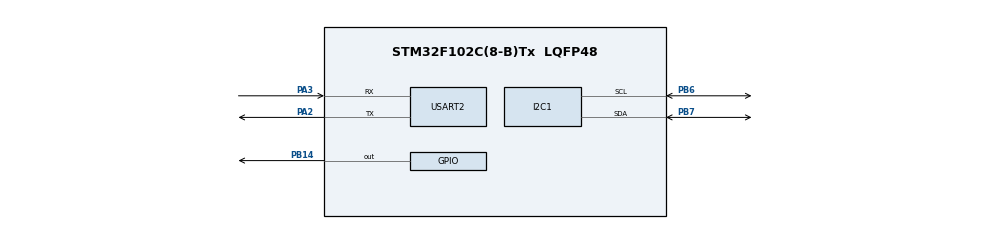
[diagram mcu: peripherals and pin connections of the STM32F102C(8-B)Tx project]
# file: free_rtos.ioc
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FREERTOS.Mutexes01=myMutex01,Dynamic,NULL,Available
FREERTOS.Queues01=myQueue01,16,myQueueData_t,0,Dynamic,NULL,NULL
FREERTOS.Tasks01=displayTask,16,128,displayFunction,Default,NULL,Dynamic,NULL,NULL;readTask,32,128,readFunction,Default,NULL,Dynamic,NULL,NULL;sendTask,24,128,sendFunction,Default,NULL,Dynamic,NULL,NULL
Mcu.Family=STM32F1
Mcu.Name=STM32F102C(8-B)Tx
Mcu.Package=LQFP48
NVIC.PriorityGroup=NVIC_PRIORITYGROUP_4
NVIC.TIM2_IRQn=true\:15\:0\:false\:false\:true\:false\:false\:true\:true
NVIC.TimeBase=TIM2_IRQn
NVIC.TimeBaseIP=TIM2
PA13.Mode=Serial_Wire
PA13.Signal=SYS_JTMS-SWDIO
PA14.Mode=Serial_Wire
PA14.Signal=SYS_JTCK-SWCLK
PA2.Mode=Asynchronous
PA2.Signal=USART2_TX
PA3.Mode=Asynchronous
PA3.Signal=USART2_RX
PB14.Signal=GPIO_Output
PB6.Mode=I2C
PB6.Signal=I2C1_SCL
PB7.Mode=I2C
PB7.Signal=I2C1_SDA
PD0-OSC_IN.Mode=HSE-External-Oscillator
PD0-OSC_IN.Signal=RCC_OSC_IN
PD1-OSC_OUT.Mode=HSE-External-Oscillator
PD1-OSC_OUT.Signal=RCC_OSC_OUT
ProjectManager.HeapSize=0x200
ProjectManager.StackSize=0x400
ProjectManager.TargetToolchain=MDK-ARM V5
RCC.APB1Freq_Value=8000000
RCC.APB2Freq_Value=8000000
TIM4.Prescaler=7
USART2.VirtualMode=VM_ASYNC
VP_FREERTOS_VS_CMSIS_V2.Mode=CMSIS_V2
VP_SYS_VS_tim2.Mode=TIM2
VP_TIM4_VS_ClockSourceINT.Mode=Internal
board=custom

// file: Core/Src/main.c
	/* USER CODE BEGIN Header */
/**
  ******************************************************************************
  * @file           : main.c
  * @brief          : Main program body
  ******************************************************************************
  * @attention
  *
  * Copyright (c) 2025 STMicroelectronics.
  * All rights reserved.
  *
  * This software is licensed under terms that can be found in the LICENSE file
  * in the root directory of this software component.
  * If no LICENSE file comes with this software, it is provided AS-IS.
  *
  ******************************************************************************
*/
/* USER CODE END Header */
#include "main.h"
#include "cmsis_os.h"

#include "stdio.h"
#include "string.h"
#include "CLCD_I2C.h"
#include "stdlib.h"

#define DHT11_PORT GPIOB
#define DHT11_PIN GPIO_PIN_14

I2C_HandleTypeDef hi2c1;
TIM_HandleTypeDef htim4;
UART_HandleTypeDef huart2;

/* Definitions for displayTask */
osThreadId_t displayTaskHandle;
const osThreadAttr_t displayTask_attributes = {
  .name = "displayTask",
  .stack_size = 128 * 4,
  .priority = (osPriority_t) osPriorityBelowNormal,
};
/* Definitions for readTask */
osThreadId_t readTaskHandle;
const osThreadAttr_t readTask_attributes = {
  .name = "readTask",
  .stack_size = 128 * 4,
  .priority = (osPriority_t) osPriorityAboveNormal,
};
/* Definitions for sendTask */
osThreadId_t sendTaskHandle;
const osThreadAttr_t sendTask_attributes = {
  .name = "sendTask",
  .stack_size = 128 * 4,
  .priority = (osPriority_t) osPriorityNormal,
};
/* Definitions for myQueue01 */
osMessageQueueId_t myQueue01Handle;
const osMessageQueueAttr_t myQueue01_attributes = {
  .name = "myQueue01"
};
/* Definitions for myMutex01 */
osMutexId_t myMutex01Handle;
const osMutexAttr_t myMutex01_attributes = {
  .name = "myMutex01"
};

void SystemClock_Config(void);
static void MX_GPIO_Init(void);
static void MX_I2C1_Init(void);
static void MX_TIM4_Init(void);
static void MX_USART2_UART_Init(void);
void displayFunction(void *argument);
void readFunction(void *argument);
void sendFunction(void *argument);

uint8_t temp, hum;
CLCD_I2C_Name LCD1;

typedef struct {
    uint8_t temp_data;
    uint8_t hum_data;
} myQueueData_t;

void delay_us(uint16_t us) {
    __HAL_TIM_SET_COUNTER(&htim4, 0);
    while (__HAL_TIM_GET_COUNTER(&htim4) < us);
}

void DHT11_Start(void) {
    GPIO_InitTypeDef GPIO_InitStruct = {0};
    GPIO_InitStruct.Pin = DHT11_PIN;
    GPIO_InitStruct.Mode = GPIO_MODE_OUTPUT_OD;
    GPIO_InitStruct.Pull = GPIO_PULLUP;
    GPIO_InitStruct.Speed = GPIO_SPEED_FREQ_LOW;
    HAL_GPIO_Init(DHT11_PORT, &GPIO_InitStruct);
    HAL_GPIO_WritePin(DHT11_PORT, DHT11_PIN, GPIO_PIN_RESET);
    HAL_Delay(18);
    HAL_GPIO_WritePin(DHT11_PORT, DHT11_PIN, GPIO_PIN_SET);
    delay_us(30);
    GPIO_InitStruct.Mode = GPIO_MODE_INPUT;
    GPIO_InitStruct.Pull = GPIO_NOPULL;
    HAL_GPIO_Init(DHT11_PORT, &GPIO_InitStruct);
}

uint8_t DHT11_CheckResponse(void) {
    uint8_t Response = 0;
    delay_us(40);
    if (!(HAL_GPIO_ReadPin(DHT11_PORT, DHT11_PIN))) {
        delay_us(80);
        if ((HAL_GPIO_ReadPin(DHT11_PORT, DHT11_PIN))) {
            Response = 1;  // Response received
        }
    }
    delay_us(40);
    return Response;
}

uint8_t DHT11_ReadData(void) {
    uint8_t i, j;
    uint8_t data = 0;
    for (j = 0; j < 8; j++) {
        while (!(HAL_GPIO_ReadPin(DHT11_PORT, DHT11_PIN)));
        delay_us(40);
        if (!(HAL_GPIO_ReadPin(DHT11_PORT, DHT11_PIN))) {
            data &= ~(1 << (7 - j));
        } else {
            data |= (1 << (7 - j));
        }
        while (HAL_GPIO_ReadPin(DHT11_PORT, DHT11_PIN));
    }
    return data;
}

void DHT11_GetData(uint8_t *humidity, uint8_t *temperature) {
    uint8_t Rh_byte1, Rh_byte2, Temp_byte1, Temp_byte2, Sum;
    DHT11_Start();
    if (DHT11_CheckResponse()) {
        Rh_byte1 = DHT11_ReadData();
        Rh_byte2 = DHT11_ReadData();
        Temp_byte1 = DHT11_ReadData();
        Temp_byte2 = DHT11_ReadData();
        Sum = DHT11_ReadData();
        if (Sum == (Rh_byte1 + Rh_byte2 + Temp_byte1 + Temp_byte2)) {
            *humidity = Rh_byte1;
            *temperature = Temp_byte1;
        }
    }
    GPIO_InitTypeDef GPIO_InitStruct = {0};
    GPIO_InitStruct.Pin = DHT11_PIN;
    GPIO_InitStruct.Mode = GPIO_MODE_OUTPUT_OD;
    GPIO_InitStruct.Pull = GPIO_PULLUP;
    GPIO_InitStruct.Speed = GPIO_SPEED_FREQ_LOW;
    HAL_GPIO_Init(DHT11_PORT, &GPIO_InitStruct);
}

/* USER CODE BEGIN 0 */

void TASK1() {
    DHT11_GetData(&hum, &temp);
}

void TASK2() {
    CLCD_I2C_SetCursor(&LCD1, 0, 0);
    char temp_string[20];
    sprintf(temp_string, "Temp: %d C", temp);
    CLCD_I2C_WriteString(&LCD1, temp_string);
    CLCD_I2C_SetCursor(&LCD1, 0, 1);
    char hum_string[20];
    sprintf(hum_string, "Humid: %d%%", hum);
    CLCD_I2C_WriteString(&LCD1, hum_string);
}

void TASK3() {
    char buffer[50];
    snprintf(buffer, sizeof(buffer), "Temp: %d C, Hum: %d%%\r\n", temp, hum);
    HAL_UART_Transmit(&huart2, (uint8_t*)buffer, strlen(buffer), HAL_MAX_DELAY);
}

/* USER CODE END 0 */

void readFunction(void *argument) {
    myQueueData_t sensorData;
    while (1) {
        DHT11_GetData(&sensorData.hum_data, &sensorData.temp_data);
        osMessageQueuePut(myQueue01Handle, &sensorData, 0, osWaitForever);
        osDelay(2000);
    }
}

void displayFunction(void *argument) {
    myQueueData_t receivedData;
    while (1) {
        if (osMessageQueueGet(myQueue01Handle, &receivedData, NULL, osWaitForever) == osOK) {
            osMutexAcquire(myMutex01Handle, osWaitForever);
            CLCD_I2C_SetCursor(&LCD1, 0, 0);
            char temp_string[20];
            sprintf(temp_string, "Temp: %d C", receivedData.temp_data);
            CLCD_I2C_WriteString(&LCD1, temp_string);
            CLCD_I2C_SetCursor(&LCD1, 0, 1);
            char hum_string[20];
            sprintf(hum_string, "Humid: %d%%", receivedData.hum_data);
            CLCD_I2C_WriteString(&LCD1, hum_string);
            osMutexRelease(myMutex01Handle);
        }
        osDelay(500);
    }
}

void sendFunction(void *argument) {
    myQueueData_t receivedData;
    while (1) {
        if (osMessageQueueGet(myQueue01Handle, &receivedData, NULL, osWaitForever) == osOK) {
            osMutexAcquire(myMutex01Handle, osWaitForever);
            char buffer[50];
            snprintf(buffer, sizeof(buffer), "Temp: %d C, Hum: %d%%\r\n", receivedData.temp_data, receivedData.hum_data);
            HAL_UART_Transmit(&huart2, (uint8_t*)buffer, strlen(buffer), HAL_MAX_DELAY);
            osMutexRelease(myMutex01Handle);
        }
        osDelay(1000);
    }
}

int main(void) {
    HAL_Init();
    SystemClock_Config();
    MX_GPIO_Init();
    MX_I2C1_Init();
    MX_TIM4_Init();
    MX_USART2_UART_Init();
		CLCD_I2C_Init(&LCD1, &hi2c1, 0x4e, 16, 2);

    osKernelInitialize();
    myQueue01Handle = osMessageQueueNew(16, sizeof(myQueueData_t), NULL);
    myMutex01Handle = osMutexNew(NULL);

    readTaskHandle = osThreadNew(readFunction, NULL, &readTask_attributes);
    displayTaskHandle = osThreadNew(displayFunction, NULL, &displayTask_attributes);
    sendTaskHandle = osThreadNew(sendFunction, NULL, &sendTask_attributes);

    osKernelStart();

    while (1) {
    }
}

	/**
		* @brief System Clock Configuration
		* @retval None
		*/
	void SystemClock_Config(void)
	{
		RCC_OscInitTypeDef RCC_OscInitStruct = {0};
		RCC_ClkInitTypeDef RCC_ClkInitStruct = {0};

		/** Initializes the RCC Oscillators according to the specified parameters
		* in the RCC_OscInitTypeDef structure.
		*/
		RCC_OscInitStruct.OscillatorType = RCC_OSCILLATORTYPE_HSI;
		RCC_OscInitStruct.HSIState = RCC_HSI_ON;
		RCC_OscInitStruct.HSICalibrationValue = RCC_HSICALIBRATION_DEFAULT;
		RCC_OscInitStruct.PLL.PLLState = RCC_PLL_NONE;
		if (HAL_RCC_OscConfig(&RCC_OscInitStruct) != HAL_OK)
		{
			Error_Handler();
		}

		/** Initializes the CPU, AHB and APB buses clocks
		*/
		RCC_ClkInitStruct.ClockType = RCC_CLOCKTYPE_HCLK|RCC_CLOCKTYPE_SYSCLK
																|RCC_CLOCKTYPE_PCLK1|RCC_CLOCKTYPE_PCLK2;
		RCC_ClkInitStruct.SYSCLKSource = RCC_SYSCLKSOURCE_HSI;
		RCC_ClkInitStruct.AHBCLKDivider = RCC_SYSCLK_DIV1;
		RCC_ClkInitStruct.APB1CLKDivider = RCC_HCLK_DIV1;
		RCC_ClkInitStruct.APB2CLKDivider = RCC_HCLK_DIV1;

		if (HAL_RCC_ClockConfig(&RCC_ClkInitStruct, FLASH_LATENCY_0) != HAL_OK)
		{
			Error_Handler();
		}
	}

	/**
		* @brief I2C1 Initialization Function
		* @param None
		* @retval None
		*/
	static void MX_I2C1_Init(void)
	{

		hi2c1.Instance = I2C1;
		hi2c1.Init.ClockSpeed = 100000;
		hi2c1.Init.DutyCycle = I2C_DUTYCYCLE_2;
		hi2c1.Init.OwnAddress1 = 0;
		hi2c1.Init.AddressingMode = I2C_ADDRESSINGMODE_7BIT;
		hi2c1.Init.DualAddressMode = I2C_DUALADDRESS_DISABLE;
		hi2c1.Init.OwnAddress2 = 0;
		hi2c1.Init.GeneralCallMode = I2C_GENERALCALL_DISABLE;
		hi2c1.Init.NoStretchMode = I2C_NOSTRETCH_DISABLE;
		if (HAL_I2C_Init(&hi2c1) != HAL_OK)
		{
			Error_Handler();
		}

	}

	/**
		* @brief TIM4 Initialization Function
		* @param None
		* @retval None
		*/
	static void MX_TIM4_Init(void)
	{

		TIM_ClockConfigTypeDef sClockSourceConfig = {0};
		TIM_MasterConfigTypeDef sMasterConfig = {0};

		htim4.Instance = TIM4;
		htim4.Init.Prescaler = 7;
		htim4.Init.CounterMode = TIM_COUNTERMODE_UP;
		htim4.Init.Period = 65535;
		htim4.Init.ClockDivision = TIM_CLOCKDIVISION_DIV1;
		htim4.Init.AutoReloadPreload = TIM_AUTORELOAD_PRELOAD_DISABLE;
		if (HAL_TIM_Base_Init(&htim4) != HAL_OK)
		{
			Error_Handler();
		}
		sClockSourceConfig.ClockSource = TIM_CLOCKSOURCE_INTERNAL;
		if (HAL_TIM_ConfigClockSource(&htim4, &sClockSourceConfig) != HAL_OK)
		{
			Error_Handler();
		}
		sMasterConfig.MasterOutputTrigger = TIM_TRGO_RESET;
		sMasterConfig.MasterSlaveMode = TIM_MASTERSLAVEMODE_DISABLE;
		if (HAL_TIMEx_MasterConfigSynchronization(&htim4, &sMasterConfig) != HAL_OK)
		{
			Error_Handler();
		}

	}

	/**
		* @brief USART2 Initialization Function
		* @param None
		* @retval None
		*/
	static void MX_USART2_UART_Init(void)
	{

		huart2.Instance = USART2;
		huart2.Init.BaudRate = 115200;
		huart2.Init.WordLength = UART_WORDLENGTH_8B;
		huart2.Init.StopBits = UART_STOPBITS_1;
		huart2.Init.Parity = UART_PARITY_NONE;
		huart2.Init.Mode = UART_MODE_TX_RX;
		huart2.Init.HwFlowCtl = UART_HWCONTROL_NONE;
		huart2.Init.OverSampling = UART_OVERSAMPLING_16;
		if (HAL_UART_Init(&huart2) != HAL_OK)
		{
			Error_Handler();
		}

	}

	/**
		* @brief GPIO Initialization Function
		* @param None
		* @retval None
		*/
	static void MX_GPIO_Init(void)
	{
		GPIO_InitTypeDef GPIO_InitStruct = {0};

		/* GPIO Ports Clock Enable */
		__HAL_RCC_GPIOD_CLK_ENABLE();
		__HAL_RCC_GPIOA_CLK_ENABLE();
		__HAL_RCC_GPIOB_CLK_ENABLE();

		/*Configure GPIO pin Output Level */
		HAL_GPIO_WritePin(GPIOB, GPIO_PIN_14, GPIO_PIN_RESET);

		/*Configure GPIO pin : PB14 */
		GPIO_InitStruct.Pin = GPIO_PIN_14;
		GPIO_InitStruct.Mode = GPIO_MODE_OUTPUT_PP;
		GPIO_InitStruct.Pull = GPIO_NOPULL;
		GPIO_InitStruct.Speed = GPIO_SPEED_FREQ_LOW;
		HAL_GPIO_Init(GPIOB, &GPIO_InitStruct);

	}

	/**
		* @brief  Period elapsed callback in non blocking mode
		* @note   This function is called  when TIM2 interrupt took place, inside
		* HAL_TIM_IRQHandler(). It makes a direct call to HAL_IncTick() to increment
		* a global variable "uwTick" used as application time base.
		* @param  htim : TIM handle
		* @retval None
		*/
	void HAL_TIM_PeriodElapsedCallback(TIM_HandleTypeDef *htim)
	{
		if (htim->Instance == TIM2) {
			HAL_IncTick();
		}
	}

	/**
		* @brief  This function is executed in case of error occurrence.
		* @retval None
		*/
	void Error_Handler(void)
	{
		__disable_irq();
		while (1)
		{
		}
	}

	#ifdef  USE_FULL_ASSERT
	/**
		* @brief  Reports the name of the source file and the source line number
		*         where the assert_param error has occurred.
		* @param  file: pointer to the source file name
		* @param  line: assert_param error line source number
		* @retval None
		*/
	void assert_failed(uint8_t *file, uint32_t line)
	{
	}
	#endif /* USE_FULL_ASSERT */
